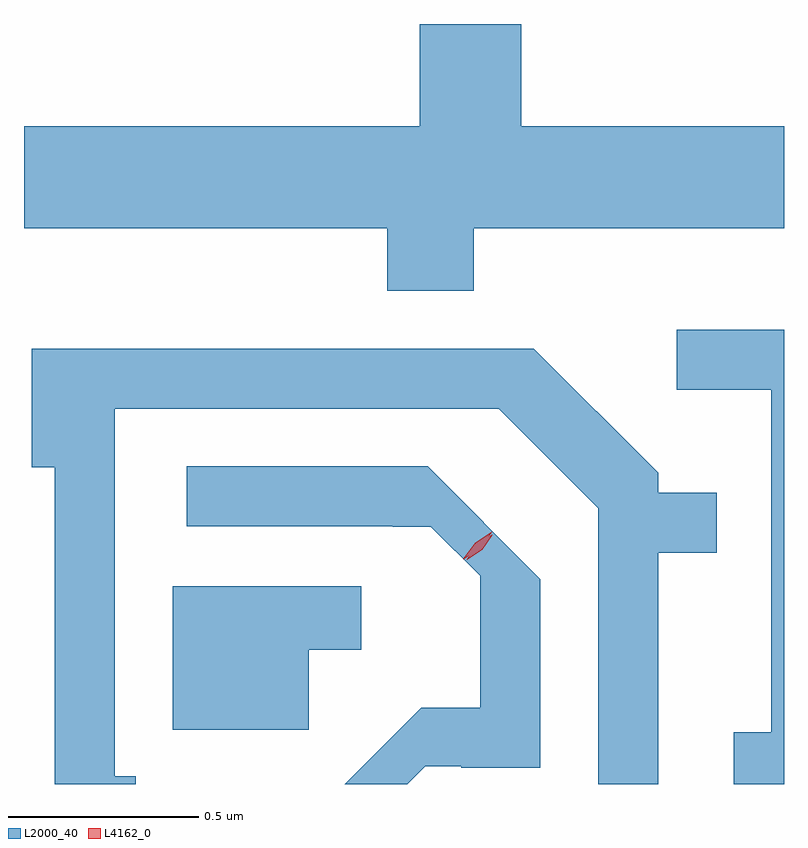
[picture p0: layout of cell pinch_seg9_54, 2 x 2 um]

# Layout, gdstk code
import gdstk
lib = gdstk.Library(unit=1e-6, precision=1e-09)
def P(c, l, *ps):  # polygons
    for p in ps: c.add(gdstk.Polygon(p, *l))
L2000_40 = (2000, 40)
L4162_0 = (4162, 0)

pinch_seg9_54 = lib.new_cell('pinch_seg9_54')
P(pinch_seg9_54, L2000_40, [(634.799,2051.756),(635.615,2051.756),(635.615,2052.024),(634.924,2052.024),(634.924,2052.293),(634.656,2052.293),(634.656,2052.024),(633.615,2052.024),(633.615,2051.756),(634.571,2051.756),(634.571,2051.591),(634.799,2051.591)],
  [(635.615,2051.489),(635.333,2051.489),(635.333,2051.331),(635.581,2051.331),(635.581,2050.429),(635.483,2050.429),(635.483,2050.293),(635.615,2050.293)],
  [(633.909,2050.314),(633.854,2050.314),(633.854,2051.281),(634.864,2051.281),(635.126,2051.019),(635.126,2050.293),(635.284,2050.293),(635.284,2050.901),(635.438,2050.901),(635.438,2051.059),(635.284,2051.059),(635.284,2051.112),(634.957,2051.439),(633.636,2051.439),(633.636,2051.126),(633.696,2051.126),(633.696,2050.293),(633.909,2050.293)],
  [(634.671,2050.34),(634.765,2050.34),(634.765,2050.336),(634.974,2050.336),(634.974,2050.832),(634.677,2051.129),(634.043,2051.129),(634.043,2050.971),(634.586,2050.971),(634.586,2050.97),(634.686,2050.97),(634.815,2050.841),(634.815,2050.494),(634.66,2050.494),(634.459,2050.293),(634.624,2050.293)],
  [(634.364,2050.646),(634.503,2050.646),(634.503,2050.814),(634.006,2050.814),(634.006,2050.436),(634.364,2050.436)])
P(pinch_seg9_54, L4162_0, [(634.78,2050.883),(634.78,2050.883),(634.807,2050.923),(634.846,2050.949),(634.847,2050.949),(634.847,2050.948),(634.821,2050.909),(634.781,2050.883)],
  [(634.771,2050.885),(634.771,2050.886),(634.802,2050.928),(634.846,2050.957),(634.846,2050.957),(634.846,2050.956),(634.816,2050.914),(634.772,2050.885)])

lib.write_gds('pinch_seg9_54.gds')
